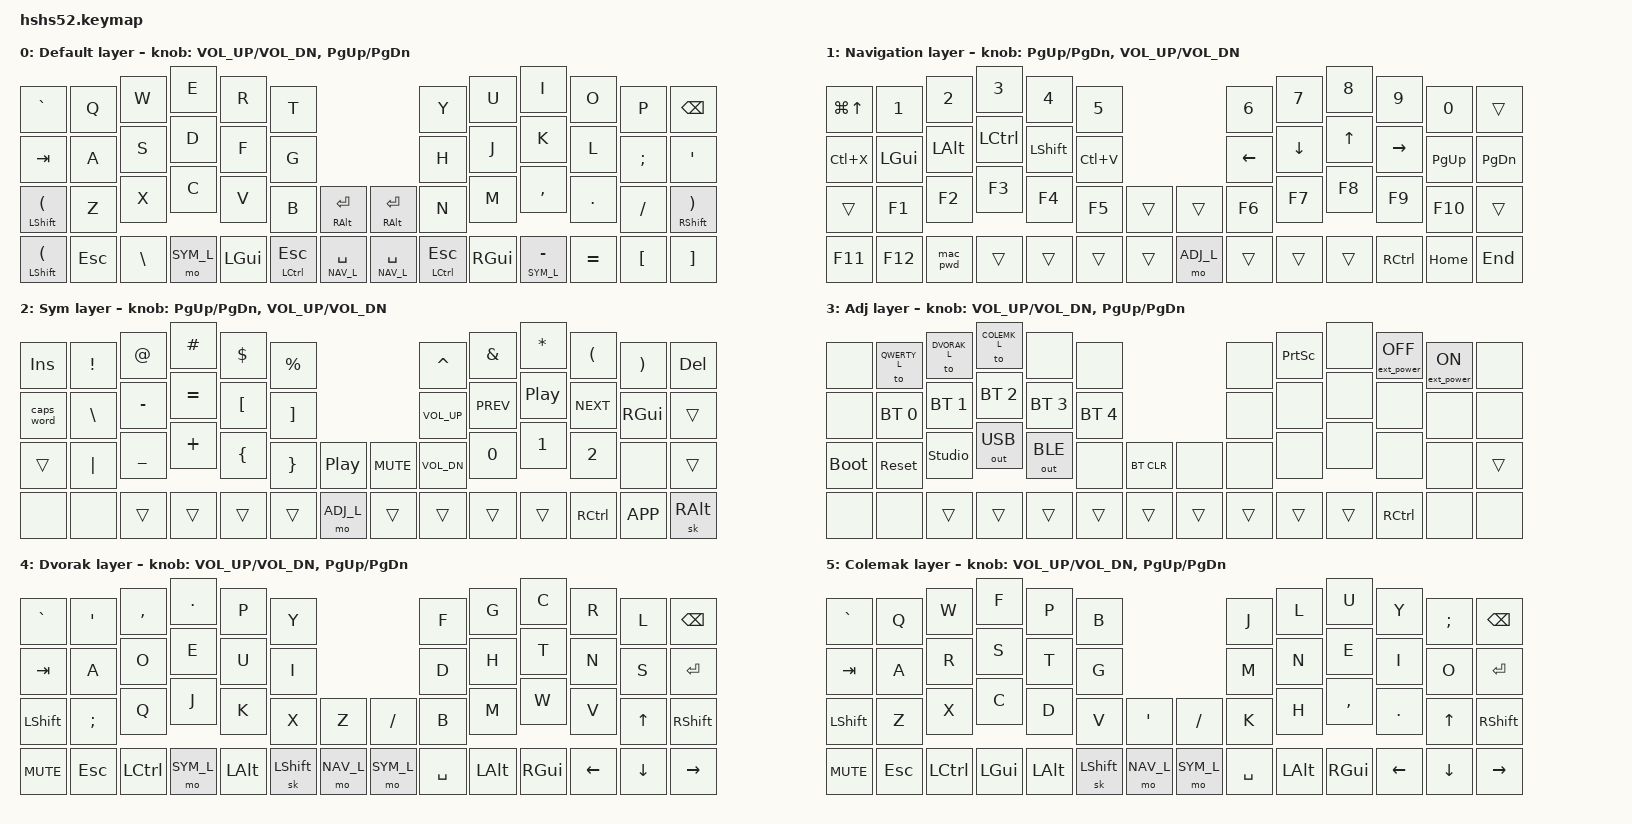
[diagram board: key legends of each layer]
/*
 * Copyright (c) 2021-2022 The ZMK Contributors
 *
 * SPDX-License-Identifier: MIT
 */

#include <behaviors.dtsi>
#include <dt-bindings/zmk/bt.h>
#include <dt-bindings/zmk/ext_power.h>
#include <dt-bindings/zmk/keys.h>
#include <dt-bindings/zmk/outputs.h>

#define QWERTY_L 0
#define NAV_L    1
#define SYM_L    2
#define ADJ_L    3
#define DVORAK_L 4
#define COLEMK_L 5

#define Undo   LC(Z)
#define Cut    LC(X)
#define Copy   LC(C)
#define Paste  LC(V)
#define Redo   LC(Y)
#define LCTR_ESC  &mt LCTRL ESC
#define NAV_SPC  &lt NAV_L SPACE
#define RALT_RET &mt RALT RET
#define LSHFT_LPAR &mt LSHFT LPAR
#define RSHFT_RPAR &mt RSHFT RPAR
#define SYM_MINUS    &lt SYM_L MINUS


/ {
        behaviors {
                mac_pwd: macro {
                compatible = "zmk,behavior-macro";
                label = "PASSWORD_MACRO";
                #binding-cells = <0>;
                bindings = <
        &kp LS(O) &kp G &kp I &kp R &kp N3 &kp N1 &kp N4 &kp MINUS &kp MINUS &kp MINUS &kp ENTER
                >;
                };
        };

        keymap {
                compatible = "zmk,keymap";

                default_layer {

/* QWERTY
 * | `       |   Q   |   W   |   E   |   R   |   T   |---------------------------------------|   Y   |   U   |   I   |   O   |   P   |  DEL   |
 * | TAB     |   A   |   S   |   D   |   F   |   G   |---------------------------------------|   H   |   J   |   K   |   L   |   ;   |   '    |
 * | SHIFT/( |   Z   |   X   |   C   |   V   |   B   |  Alt  |-----------------------|  Alt  |    N    |   M   |   ,   |   .   |  /  |SHFT/ret|
 * | SHIFT/( |  ESC  | CTRL  |-------|  Sym  |  GUI  |Ctl/esc| Nav/SPC |---| Nav/SPC |Ctl/esc| Sym/SPc |  SYM  |-------|   \   |  [  |    ]   |
 */
                        bindings = <
&kp  GRAVE   &kp  Q        &kp  W        &kp  E    &kp  R      &kp  T                         /**/                   &kp  Y     &kp  U        &kp  I        &kp  O       &kp  P        &kp  BSPC
&kp  TAB     &kp  A        &kp  S        &kp  D    &kp  F      &kp  G                         /**/                   &kp  H     &kp  J        &kp  K        &kp  L       &kp  SEMI     &kp  SQT
LSHFT_LPAR   &kp  Z        &kp  X        &kp  C    &kp  V      &kp  B      RALT_RET           /**/          RALT_RET &kp  N     &kp  M        &kp  COMMA    &kp  DOT     &kp  FSLH     RSHFT_RPAR
LSHFT_LPAR   &kp  ESC      &kp  BACKSLASH          &mo  SYM_L  &kp  LGUI   LCTR_ESC  NAV_SPC  /**/ NAV_SPC  LCTR_ESC  &kp RGUI  SYM_MINUS                   &kp  EQUAL   &kp  LBKT     &kp RBKT
                        >;

                        sensor-bindings = <&inc_dec_kp C_VOL_UP C_VOL_DN &inc_dec_kp PG_UP PG_DN>;
                        display-name = "Default layer";
                };
		

                nav_layer {
/* NAV
 * -------------------------------------------------------------------------------------------------------------------------------------
 * | Copy  |   1   |   2   |   3   |   4   |   5   |-----------------------------------|   6   |   7   |   8   |   9   |   0   | BSPC  |
 * | Cut   |  GUI  |  Alt  | Ctrl  | Shift | Paste |-----------------------------------| PG UP |  Left |  Up   |  Down | Right | PG DN |
 * | Shift |  F1   |  F2   |  F3   |  F4   |  F5   |  UnDo |-------------------| ReDo  |  F6   |  F7   |  F8   |  F9   |  F10  | Shift |
 * | F11   |  F12  |       |-------|       |       |       |       |---| ADJ_L |       |       |       |-------| CTRL  | HOME  |  END  |
 */
                        bindings = <
&kp LG(UP)    &kp  N1       &kp  N2       &kp  N3       &kp  N4       &kp  N5                         /**/                          &kp   N6      &kp  N7      &kp   N8      &kp   N9      &kp  N0       &trans
&kp  Cut      &kp  LGUI     &kp  LALT     &kp  LCTRL    &kp  LSHFT    &kp  Paste                      /**/                          &kp   LEFT    &kp  DOWN    &kp   UP      &kp   RIGHT   &kp  PG_UP    &kp PG_DN
&trans        &kp  F1       &kp  F2       &kp  F3       &kp  F4       &kp  F5       &trans            /**/                &trans    &kp   F6      &kp  F7      &kp   F8      &kp   F9      &kp  F10      &trans
&kp  F11      &kp  F12      &mac_pwd                    &trans        &trans        &trans  &trans    /**/    &mo ADJ_L   &trans    &trans        &trans                     &kp  RCTRL    &kp  HOME     &kp  END
                        >;

                        sensor-bindings = <&inc_dec_kp PG_UP PG_DN &inc_dec_kp C_VOL_UP C_VOL_DN>;
                        display-name = "Navigation layer";
                };

                sym_layer {
/* SYM
 * -------------------------------------------------------------------------------------------------------------------------------------
 * | INS   |   !   |   @   |   #   |   $   |   %   |-----------------------------------|   ^   |   &   |   *   |   (   |   )   | DELETE|
 * | CAPS  |   \   |   -   |   =   |   [   |   ]   |-----------------------------------| Vol+  | Shift | Ctrl  | Alt   | Gui   | ENTER |
 * | Shift |   |   |   _   |   +   |   {   |   }   | Play  |-------------------| Mute  | Vol-  |  N0   |  N1   |  N2   |       | SHIFT |
 * |       |       |       |-------|       |       |       |  ADJ_L |---|      |       |       |       |-------| CTRL  | MENU  |SkAltGr|
 */
                        bindings = <
&kp  INS      &kp  EXCL     &kp  AT       &kp  HASH     &kp  DOLLAR   &kp  PERCENT                                                                   &kp  CARET    &kp  AMPS     &kp  ASTRK   &kp  LPAR     &kp  RPAR     &kp  DEL
&caps_word    &kp  BSLH     &kp  MINUS    &kp  EQUAL    &kp  LBKT     &kp  RBKT                                                                      &kp C_VOL_UP  &kp  C_PREV   &kp  C_PP    &kp  C_NEXT     &kp  RGUI     &trans
&trans        &kp  PIPE     &kp  UNDER    &kp  PLUS     &kp  LBRC     &kp  RBRC     &kp  C_PP                                          &kp C_MUTE    &kp C_VOL_DN  &kp  N0       &kp  N1      &kp  N2       &none         &trans
&none         &none         &trans                      &trans        &trans        &trans        &mo  ADJ_L               &trans      &trans        &trans        &trans                     &kp  RCTRL    &kp  K_APP    &sk  RALT
                        >;
			
                        sensor-bindings = <&inc_dec_kp PG_UP PG_DN &inc_dec_kp C_VOL_UP C_VOL_DN>;
                        display-name = "Sym layer";
                };
		

                adj_layer {
/* ADJUST
 * -------------------------------------------------------------------------------------------------------------------------------------
 * |       | QWERTY| DVORAK| COLEMK|       |       |-----------------------------------|       |Prt Scr|       | EP_OFF| EP_ON |       |
 * |       | BT 0  | BT 1  | BT 2  | BT 3  | BT 4  |-----------------------------------|       |       |       |       |       |       |
 * | BOOTL | RESET | STUDIO|OUT_USB|OUT_BLE|       |BT CLR |-------------------|       |       |       |       |       |       | SHIFT |
 * ----------------|       |-------|       |       |       |       |---|       |       |       |       |-------| CTRL  |----------------
 */
                        bindings = <
&none         &to  QWERTY_L &to  DVORAK_L &to  COLEMK_L &none         &none                                                                             &none             &kp PRINTSCREEN    &none         &ext_power EP_OFF  &ext_power EP_ON &none
&none         &bt  BT_SEL 0 &bt  BT_SEL 1 &bt  BT_SEL 2 &bt  BT_SEL 3 &bt  BT_SEL 4                                                                     &none             &none              &none            &none           &none            &none
&bootloader   &sys_reset        &studio_unlock 	&out OUT_USB  &out OUT_BLE  &none         &bt BT_CLR                                            &none            &none             &none              &none            &none           &none    &trans
&none         &none         &trans                      &trans        &trans        &trans        &trans                 &trans        &trans           &trans            &trans                              &kp  RCTRL      &none            &none
                        >;
			
                        sensor-bindings = <&inc_dec_kp C_VOL_UP C_VOL_DN &inc_dec_kp PG_UP PG_DN>;
                        display-name = "Adj layer";
                };

                dvorak_layer {
/* DVORAK
 * -------------------------------------------------------------------------------------------------------------------------------------
 * | `     |   '   |   ,   |   .   |   P   |   Y   |-----------------------------------|   F   |   G   |   C   |   R   |   L   | BKSPC |
 * | TAB   |   A   |   O   |   E   |   U   |   I   |-----------------------------------|   D   |   H   |   T   |   N   |   S   | ENTER |
 * | SHIFT |   ;   |   Q   |   J   |   K   |   X   |   Z   |-------------------|   /   |   B   |   M   |   W   |   V   |  Up   | SHIFT |
 * | Mute  |  ESC  | CTRL  |-------|  GUI  |  ALT  |SK SHFT|  Nav  |---|  Sym  | SPACE |  ALT  |  GUI  |-------| Left  | Down  | Right |
 */
                        bindings = <
&kp  GRAVE    &kp  SQT      &kp  COMMA    &kp  DOT      &kp  P        &kp  Y                                                                         &kp  F        &kp  G        &kp  C        &kp  R        &kp  L        &kp  BSPC
&kp  TAB      &kp  A        &kp  O        &kp  E        &kp  U        &kp  I                                                                         &kp  D        &kp  H        &kp  T        &kp  N        &kp  S        &kp  ENTER
&kp  LSHFT    &kp  SEMI     &kp  Q        &kp  J        &kp  K        &kp  X        &kp  Z                                             &kp  SLASH    &kp  B        &kp  M        &kp  W        &kp  V        &kp  UP       &kp  RSHFT
&kp  C_MUTE   &kp  ESC      &kp  LCTRL                  &mo  SYM_L    &kp  LALT     &sk  LSHIFT    &mo  NAV_L            &mo  SYM_L    &kp  SPACE    &kp  LALT     &kp  RGUI                   &kp  LEFT     &kp  DOWN     &kp  RIGHT
                        >;

                        sensor-bindings = <&inc_dec_kp C_VOL_UP C_VOL_DN &inc_dec_kp PG_UP PG_DN>;
                        display-name = "Dvorak layer";
                };

                colemak_layer {
/* COLEMAK-DH
 * -------------------------------------------------------------------------------------------------------------------------------------
 * | `     |   Q   |   W   |   F   |   P   |   B   |-----------------------------------|   J   |   L   |   U   |   Y   |   ;   | BKSPC |
 * | TAB   |   A   |   R   |   S   |   T   |   G   |-----------------------------------|   M   |   N   |   E   |   I   |   O   | ENTER |
 * | SHIFT |   Z   |   X   |   C   |   D   |   V   |   '   |-------------------|   /   |   K   |   H   |   ,   |   .   |  Up   | SHIFT |
 * | Mute  |  ESC  | CTRL  |-------|  GUI  |  ALT  |SK SHFT|  Nav  |---|  Sym  | SPACE |  ALT  |  GUI  |-------| Left  | Down  | Right |
 */
                        bindings = <
&kp  GRAVE    &kp  Q        &kp  W        &kp  F        &kp  P        &kp  B                                                                         &kp  J        &kp  L        &kp  U        &kp  Y        &kp  SEMI     &kp  BSPC
&kp  TAB      &kp  A        &kp  R        &kp  S        &kp  T        &kp  G                                                                         &kp  M        &kp  N        &kp  E        &kp  I        &kp  O        &kp  ENTER
&kp  LSHFT    &kp  Z        &kp  X        &kp  C        &kp  D        &kp  V        &kp  SQT                                           &kp  SLASH    &kp  K        &kp  H        &kp  COMMA    &kp  DOT      &kp  UP       &kp  RSHFT
&kp  C_MUTE   &kp  ESC      &kp  LCTRL                  &kp  LGUI     &kp  LALT     &sk  LSHIFT     &mo  NAV_L           &mo  SYM_L    &kp  SPACE    &kp  LALT     &kp  RGUI                   &kp  LEFT     &kp  DOWN     &kp  RIGHT
                        >;

                        sensor-bindings = <&inc_dec_kp C_VOL_UP C_VOL_DN &inc_dec_kp PG_UP PG_DN>;
                        display-name = "Colemak layer";
                };

        };
};
